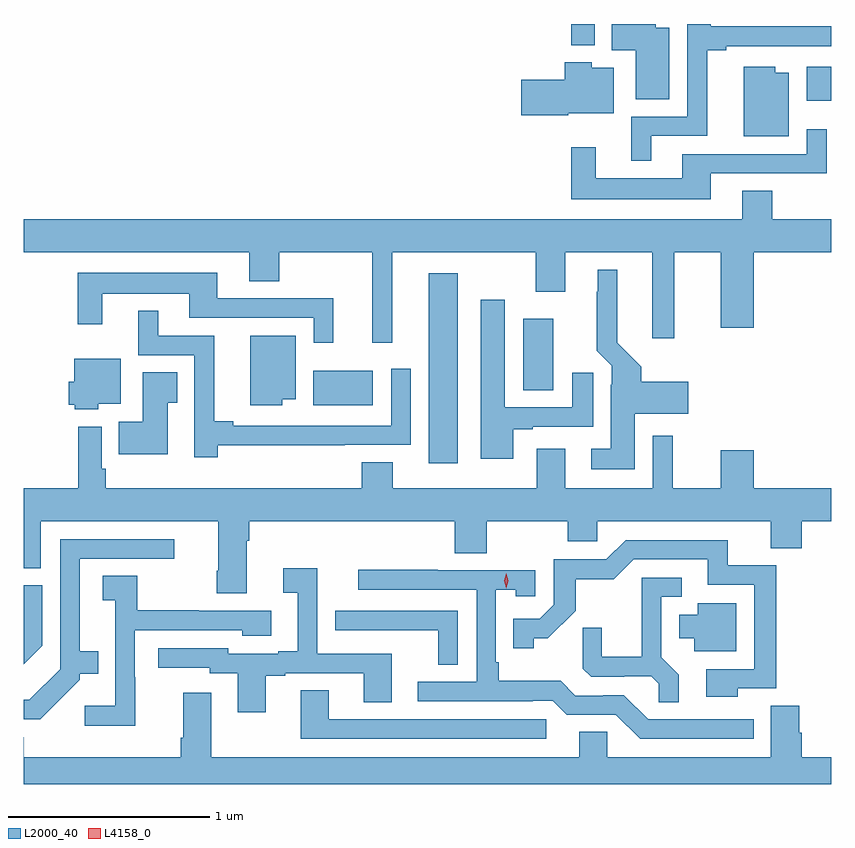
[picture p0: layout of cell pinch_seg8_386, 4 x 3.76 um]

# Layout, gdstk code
import gdstk
lib = gdstk.Library(unit=1e-6, precision=1e-09)
def R(c, l, rs):  # rectangles x0, y0, x1, y1
    for r in rs: c.add(gdstk.rectangle(r[:2], r[2:], *l))
def P(c, l, *ps):  # polygons
    for p in ps: c.add(gdstk.Polygon(p, *l))
L2000_40 = (2000, 40)
L4158_0 = (4158, 0)

pinch_seg8_386 = lib.new_cell('pinch_seg8_386')
R(pinch_seg8_386, L2000_40, [(535.19,1083.489,535.336,1084.429), (534.62,1083.776,534.913,1083.946), (535.658,1083.85,535.807,1084.204), (537.062,1085.282,537.185,1085.452), (535.897,1085.558,536.013,1085.663)])
P(pinch_seg8_386, L2000_40, [(536.383,1085.644),(536.314,1085.644),(536.314,1085.663),(536.098,1085.663),(536.098,1085.534),(536.216,1085.534),(536.216,1085.29),(536.383,1085.29)],
  [(536.293,1085.109),(536.57,1085.109),(536.57,1085.533),(536.665,1085.533),(536.665,1085.553),(537.185,1085.553),(537.185,1085.651),(536.588,1085.651),(536.588,1085.663),(536.472,1085.663),(536.472,1085.205),(536.195,1085.205),(536.195,1084.985),(536.293,1084.985)],
  [(535.881,1085.222),(536.107,1085.222),(536.107,1085.446),(535.998,1085.446),(535.998,1085.473),(535.865,1085.473),(535.865,1085.388),(535.65,1085.388),(535.65,1085.21),(535.881,1085.21)],
  [(536.974,1085.422),(536.908,1085.422),(536.908,1085.452),(536.75,1085.452),(536.75,1085.108),(536.974,1085.108)],
  [(536.587,1084.923),(537.161,1084.923),(537.161,1085.143),(537.063,1085.143),(537.063,1085.019),(536.447,1085.019),(536.447,1084.9),(536.017,1084.9),(536.017,1085.053),(535.896,1085.053),(535.896,1084.796),(536.587,1084.796)],
  [(535.01,1084.532),(535.72,1084.532),(535.72,1084.338),(535.867,1084.338),(535.867,1084.532),(536.297,1084.532),(536.297,1084.107),(536.407,1084.107),(536.407,1084.532),(536.636,1084.532),(536.636,1084.158),(536.8,1084.158),(536.8,1084.532),(537.185,1084.532),(537.185,1084.696),(536.892,1084.696),(536.892,1084.838),(536.744,1084.838),(536.744,1084.696),(533.185,1084.696),(533.185,1084.532),(534.302,1084.532),(534.302,1084.39),(534.45,1084.39),(534.45,1084.532),(534.911,1084.532),(534.911,1084.086),(535.01,1084.086)],
  [(536.212,1083.734),(536.476,1083.734),(536.476,1083.892),(536.243,1083.892),(536.243,1083.966),(536.125,1084.084),(536.125,1084.447),(536.027,1084.447),(536.027,1084.337),(536.023,1084.337),(536.023,1084.046),(536.097,1083.972),(536.097,1083.878),(536.093,1083.878),(536.093,1083.559),(535.995,1083.559),(535.995,1083.458),(536.212,1083.458)],
  [(534.719,1084.305),(534.145,1084.305),(534.145,1084.432),(533.454,1084.432),(533.454,1084.176),(533.575,1084.176),(533.575,1084.328),(534.005,1084.328),(534.005,1084.209),(534.621,1084.209),(534.621,1084.086),(534.719,1084.086)],
  [(535.609,1083.657),(535.705,1083.657),(535.705,1083.669),(536.005,1083.669),(536.005,1083.937),(535.901,1083.937),(535.901,1083.765),(535.567,1083.765),(535.567,1084.297),(535.448,1084.297),(535.448,1083.51),(535.609,1083.51)],
  [(534.146,1083.578),(534.776,1083.578),(534.776,1083.579),(535.101,1083.579),(535.101,1083.955),(535.005,1083.955),(535.005,1083.675),(534.223,1083.675),(534.223,1083.695),(534.128,1083.695),(534.128,1084.119),(533.851,1084.119),(533.851,1084.243),(533.753,1084.243),(533.753,1084.023),(534.03,1084.023),(534.03,1083.519),(534.146,1083.519)],
  [(534.466,1083.806),(534.532,1083.806),(534.532,1084.12),(534.308,1084.12),(534.308,1083.776),(534.466,1083.776)],
  [(533.556,1083.782),(533.665,1083.782),(533.665,1084.006),(533.435,1084.006),(533.435,1083.891),(533.408,1083.891),(533.408,1083.777),(533.439,1083.777),(533.439,1083.755),(533.556,1083.755)],
  [(533.899,1083.787),(533.945,1083.787),(533.945,1083.938),(533.774,1083.938),(533.774,1083.694),(533.656,1083.694),(533.656,1083.533),(533.899,1083.533)],
  [(535.867,1083.559),(535.727,1083.559),(535.727,1083.364),(535.012,1083.364),(535.012,1083.494),(534.86,1083.494),(534.86,1083.364),(533.591,1083.364),(533.591,1083.46),(533.571,1083.46),(533.571,1083.67),(533.455,1083.67),(533.455,1083.364),(533.185,1083.364),(533.185,1082.968),(533.269,1082.968),(533.269,1083.2),(534.149,1083.2),(534.149,1082.956),(534.142,1082.956),(534.142,1082.844),(534.289,1082.844),(534.289,1083.104),(534.302,1083.104),(534.302,1083.2),(535.319,1083.2),(535.319,1083.043),(535.479,1083.043),(535.479,1083.2),(535.879,1083.2),(535.879,1083.102),(536.025,1083.102),(536.025,1083.2),(536.885,1083.2),(536.885,1083.067),(537.038,1083.067),(537.038,1083.2),(537.185,1083.2),(537.185,1083.364),(536.8,1083.364),(536.8,1083.553),(536.636,1083.553),(536.636,1083.364),(536.4,1083.364),(536.4,1083.625),(536.301,1083.625),(536.301,1083.364),(535.867,1083.364)],
  [(533.463,1082.415),(533.463,1082.447),(533.555,1082.447),(533.555,1082.557),(533.464,1082.557),(533.464,1083.015),(533.932,1083.015),(533.932,1083.111),(533.367,1083.111),(533.367,1082.469),(533.214,1082.316),(533.185,1082.316),(533.185,1082.22),(533.268,1082.22)],
  [(536.721,1082.373),(536.911,1082.373),(536.911,1082.982),(536.672,1082.982),(536.672,1083.108),(536.166,1083.108),(536.07,1083.012),(535.809,1083.012),(535.809,1082.787),(535.74,1082.718),(535.609,1082.718),(535.609,1082.571),(535.71,1082.571),(535.71,1082.621),(535.78,1082.621),(535.918,1082.758),(535.918,1082.914),(536.107,1082.914),(536.205,1083.012),(536.573,1083.012),(536.573,1082.886),(536.802,1082.886),(536.802,1082.469),(536.565,1082.469),(536.565,1082.333),(536.721,1082.333)],
  [(534.385,1082.436),(534.481,1082.436),(534.481,1082.448),(534.869,1082.448),(534.869,1082.305),(535.009,1082.305),(535.009,1082.544),(534.639,1082.544),(534.639,1082.968),(534.471,1082.968),(534.471,1082.848),(534.542,1082.848),(534.542,1082.557),(534.446,1082.557),(534.446,1082.544),(534.198,1082.544),(534.198,1082.571),(533.853,1082.571),(533.853,1082.475),(534.108,1082.475),(534.108,1082.448),(534.245,1082.448),(534.245,1082.256),(534.385,1082.256)],
  [(536.8,1082.22),(536.277,1082.22),(536.157,1082.34),(536.056,1082.34),(536.056,1082.337),(535.917,1082.337),(535.844,1082.41),(535.537,1082.41),(535.537,1082.503),(535.524,1082.503),(535.524,1082.861),(535.623,1082.861),(535.623,1082.829),(535.719,1082.829),(535.719,1082.958),(535.235,1082.958),(535.235,1082.961),(534.843,1082.961),(534.843,1082.862),(535.428,1082.862),(535.428,1082.406),(535.137,1082.406),(535.137,1082.31),(535.706,1082.31),(535.706,1082.313),(535.806,1082.313),(535.875,1082.244),(536.118,1082.244),(536.238,1082.124),(536.8,1082.124)],
  [(533.739,1082.429),(533.736,1082.429),(533.736,1082.661),(534.267,1082.661),(534.267,1082.633),(534.412,1082.633),(534.412,1082.757),(534.053,1082.757),(534.053,1082.76),(533.749,1082.76),(533.749,1082.93),(533.577,1082.93),(533.577,1082.809),(533.64,1082.809),(533.64,1082.287),(533.487,1082.287),(533.487,1082.189),(533.739,1082.189)],
  [(536.429,1082.441),(536.343,1082.527),(536.343,1082.826),(536.443,1082.826),(536.443,1082.922),(536.246,1082.922),(536.246,1082.53),(536.048,1082.53),(536.048,1082.673),(535.954,1082.673),(535.954,1082.471),(535.995,1082.43),(536.16,1082.43),(536.16,1082.433),(536.294,1082.433),(536.331,1082.396),(536.331,1082.305),(536.429,1082.305)],
  [(533.277,1082.585),(533.277,1082.883),(533.185,1082.883),(533.185,1082.493)],
  [(536.713,1082.794),(536.522,1082.794),(536.522,1082.737),(536.432,1082.737),(536.432,1082.621),(536.507,1082.621),(536.507,1082.558),(536.713,1082.558)],
  [(535.335,1082.757),(534.729,1082.757),(534.729,1082.662),(534.841,1082.662),(534.841,1082.661),(535.237,1082.661),(535.237,1082.491),(535.335,1082.491)],
  [(535.774,1082.22),(534.697,1082.22),(534.697,1082.363),(534.557,1082.363),(534.557,1082.124),(535.774,1082.124)],
  [(537.185,1082.032),(537.038,1082.032),(537.038,1082.154),(537.025,1082.154),(537.025,1082.288),(536.885,1082.288),(536.885,1082.032),(536.076,1082.032),(536.076,1082.159),(535.937,1082.159),(535.937,1082.032),(534.115,1082.032),(534.115,1082.353),(533.975,1082.353),(533.975,1082.128),(533.963,1082.128),(533.963,1082.032),(533.186,1082.032),(533.186,1082.131),(533.185,1082.131),(533.185,1081.9),(537.185,1081.9)])
P(pinch_seg8_386, L4158_0, [(535.576,1082.87),(535.576,1082.871),(535.566,1082.906),(535.576,1082.942),(535.576,1082.943),(535.576,1082.942),(535.586,1082.906),(535.576,1082.871)])

lib.write_gds('pinch_seg8_386.gds')
